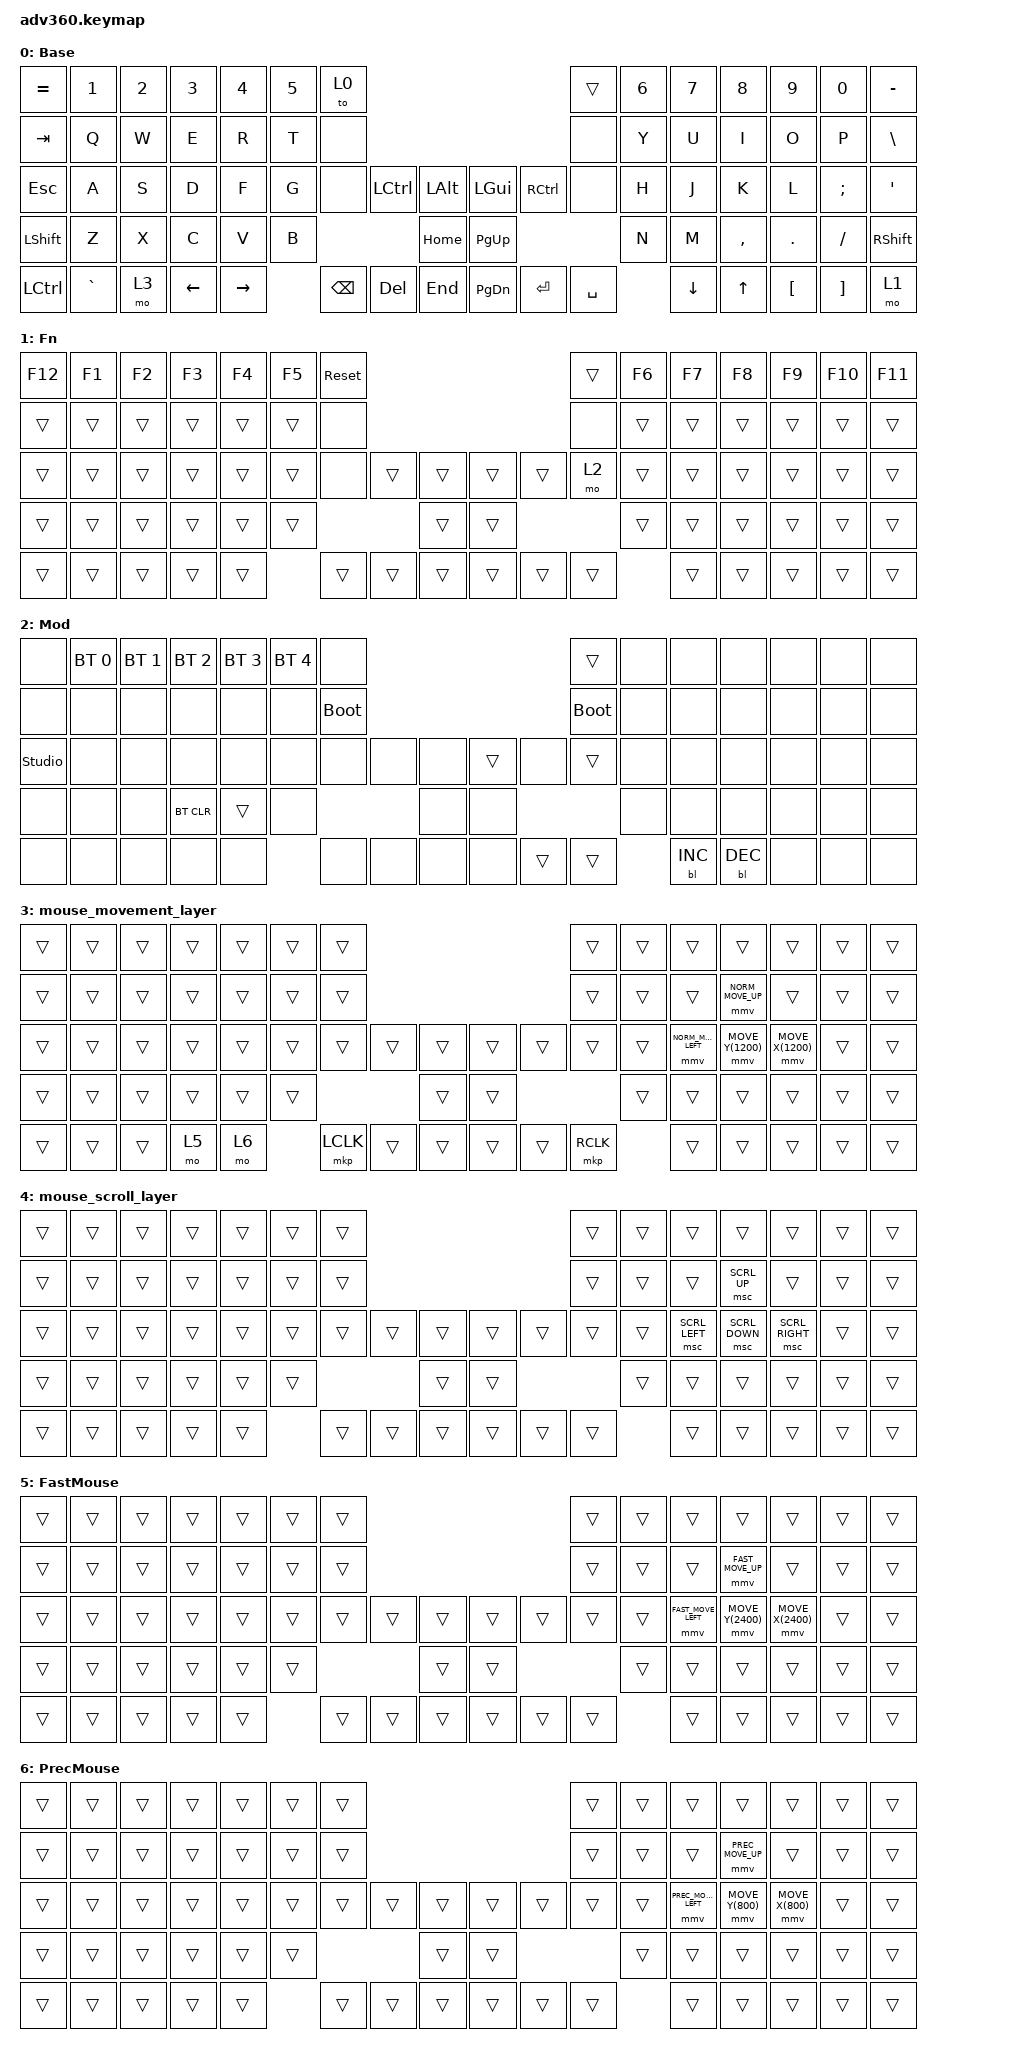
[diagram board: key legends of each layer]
#include <dt-bindings/zmk/stp.h>
#include <behaviors.dtsi>
#include <dt-bindings/zmk/backlight.h>
#include <dt-bindings/zmk/bt.h>
#include <dt-bindings/zmk/keys.h>
#include <dt-bindings/zmk/pointing.h>

#define NORM_MOVE_UP    MOVE_Y(-1200)
#define NORM_MOVE_DOWN  MOVE_Y(1200)
#define NORM_MOVE_LEFT  MOVE_X(-1200)
#define NORM_MOVE_RIGHT MOVE_X(1200)
#define FAST_MOVE_UP    MOVE_Y(-2400)
#define FAST_MOVE_DOWN  MOVE_Y(2400)
#define FAST_MOVE_LEFT  MOVE_X(-2400)
#define FAST_MOVE_RIGHT MOVE_X(2400)
#define PREC_MOVE_UP    MOVE_Y(-800)
#define PREC_MOVE_DOWN  MOVE_Y(800)
#define PREC_MOVE_LEFT  MOVE_X(-800)
#define PREC_MOVE_RIGHT MOVE_X(800)

/ {
    behaviors {
        #include "macros.dtsi"
      #include "version.dtsi"

        hm: homerow_mods {
            compatible = "zmk,behavior-hold-tap";
            label = "HOMEROW_MODS";
            #binding-cells = <2>;
            tapping-term-ms = <200>;
            quick_tap_ms = <175>;
            flavor = "tap-preferred";
            bindings = <&kp>, <&kp>;
        };

    };

    combos {
        compatible = "zmk,combos";

        to_base_layer {
            bindings = <&to 0>;
            key-positions = <0 73>;
        };
    };

    keymap {
        compatible = "zmk,keymap";

        default_layer {
            display-name = "Base";
            bindings = <
&kp EQUAL         &kp N1     &kp N2  &kp N3    &kp N4     &kp N5  &to 0                                                    &trans     &kp N6  &kp N7    &kp N8        &kp N9    &kp N0    &kp MINUS
&kp TAB           &kp Q      &kp W   &kp E     &kp R      &kp T   &none                                                    &none      &kp Y   &kp U     &kp I         &kp O     &kp P     &kp BSLH
&kp ESC           &kp A      &kp S   &kp D     &kp F      &kp G   &none     &kp LCTRL  &kp LALT      &kp LGUI   &kp RCTRL  &none      &kp H   &kp J     &kp K         &kp L     &kp SEMI  &kp SQT
&kp LSHFT         &kp Z      &kp X   &kp C     &kp V      &kp B                        &kp HOME      &kp PG_UP                        &kp N   &kp M     &kp COMMA     &kp DOT   &kp FSLH  &kp RSHFT
&kp LEFT_CONTROL  &kp GRAVE  &mo 3   &kp LEFT  &kp RIGHT          &kp BSPC  &kp DEL    &kp END       &kp PG_DN  &kp ENTER  &kp SPACE          &kp DOWN  &kp UP_ARROW  &kp LBKT  &kp RBKT  &mo 1
            >;
        };

        fn {
            display-name = "Fn";
            bindings = <
&kp F12  &kp F1  &kp F2  &kp F3  &kp F4  &kp F5  &sys_reset                                      &trans  &kp F6  &kp F7  &kp F8  &kp F9  &kp F10  &kp F11
&trans   &trans  &trans  &trans  &trans  &trans  &none                                           &none   &trans  &trans  &trans  &trans  &trans   &trans
&trans   &trans  &trans  &trans  &trans  &trans  &none       &trans  &trans      &trans  &trans  &mo 2   &trans  &trans  &trans  &trans  &trans   &trans
&trans   &trans  &trans  &trans  &trans  &trans                      &trans      &trans                  &trans  &trans  &trans  &trans  &trans   &trans
&trans   &trans  &trans  &trans  &trans          &trans      &trans  &trans      &trans  &trans  &trans          &trans  &trans  &trans  &trans   &trans
            >;
        };

        bluetooth {
            display-name = "Mod";
            bindings = <
&none           &bt BT_SEL 0  &bt BT_SEL 1  &bt BT_SEL 2  &bt BT_SEL 3  &bt BT_SEL 4  &none                                          &trans       &none  &none       &none       &none  &none  &none
&none           &none         &none         &none         &none         &none         &bootloader                                    &bootloader  &none  &none       &none       &none  &none  &none
&studio_unlock  &none         &none         &none         &none         &none         &none        &none  &none      &trans  &none   &trans       &none  &none       &none       &none  &none  &none
&none           &none         &none         &bt BT_CLR    &trans        &none                             &none      &none                        &none  &none       &none       &none  &none  &none
&none           &none         &none         &none         &none                       &none        &none  &none      &none   &trans  &trans              &bl BL_INC  &bl BL_DEC  &none  &none  &none
            >;
        };

        mouse_movement_layer {
            bindings = <
&trans  &trans  &trans  &trans  &trans  &trans  &trans                                         &trans     &trans  &trans          &trans          &trans           &trans  &trans
&trans  &trans  &trans  &trans  &trans  &trans  &trans                                         &trans     &trans  &trans               &mmv NORM_MOVE_UP    &trans                &trans  &trans
&trans  &trans  &trans  &trans  &trans  &trans  &trans     &trans  &trans      &trans  &trans  &trans     &trans  &mmv NORM_MOVE_LEFT  &mmv NORM_MOVE_DOWN  &mmv NORM_MOVE_RIGHT  &trans  &trans
&trans  &trans  &trans  &trans  &trans  &trans                     &trans      &trans                     &trans  &trans          &trans          &trans           &trans  &trans
&trans  &trans  &trans  &mo 5   &mo 6           &mkp LCLK  &trans  &trans      &trans  &trans  &mkp RCLK          &trans          &trans          &trans           &trans  &trans
            >;
        };

        mouse_scroll_layer {
            bindings = <
&trans  &trans  &trans  &trans  &trans  &trans  &trans                                      &trans  &trans  &trans          &trans          &trans           &trans  &trans
&trans  &trans  &trans  &trans  &trans  &trans  &trans                                      &trans  &trans  &trans          &msc SCRL_UP    &trans           &trans  &trans
&trans  &trans  &trans  &trans  &trans  &trans  &trans  &trans  &trans      &trans  &trans  &trans  &trans  &msc SCRL_LEFT  &msc SCRL_DOWN  &msc SCRL_RIGHT  &trans  &trans
&trans  &trans  &trans  &trans  &trans  &trans                  &trans      &trans                  &trans  &trans          &trans          &trans           &trans  &trans
&trans  &trans  &trans  &trans  &trans          &trans  &trans  &trans      &trans  &trans  &trans          &trans          &trans          &trans           &trans  &trans
            >;
        };

        mouse_fast_mod_layer {
            display-name = "FastMouse";
            bindings = <
&trans  &trans  &trans  &trans  &trans  &trans  &trans                                         &trans     &trans  &trans               &trans                  &trans                   &trans  &trans
&trans  &trans  &trans  &trans  &trans  &trans  &trans                                         &trans     &trans  &trans               &mmv FAST_MOVE_UP   &trans                   &trans  &trans
&trans  &trans  &trans  &trans  &trans  &trans  &trans     &trans  &trans      &trans  &trans  &trans     &trans  &mmv FAST_MOVE_LEFT  &mmv FAST_MOVE_DOWN  &mmv FAST_MOVE_RIGHT  &trans  &trans
&trans  &trans  &trans  &trans  &trans  &trans                     &trans      &trans                     &trans  &trans               &trans                  &trans                   &trans  &trans
&trans  &trans  &trans  &trans  &trans          &trans     &trans  &trans      &trans  &trans  &trans             &trans               &trans                  &trans                   &trans  &trans
            >;
        };

        mouse_prec_mod_layer {
            display-name = "PrecMouse";
            bindings = <
&trans  &trans  &trans  &trans  &trans  &trans  &trans                                         &trans     &trans  &trans               &trans                  &trans                   &trans  &trans
&trans  &trans  &trans  &trans  &trans  &trans  &trans                                         &trans     &trans  &trans               &mmv PREC_MOVE_UP   &trans                   &trans  &trans
&trans  &trans  &trans  &trans  &trans  &trans  &trans     &trans  &trans      &trans  &trans  &trans     &trans  &mmv PREC_MOVE_LEFT  &mmv PREC_MOVE_DOWN  &mmv PREC_MOVE_RIGHT  &trans  &trans
&trans  &trans  &trans  &trans  &trans  &trans                     &trans      &trans                     &trans  &trans               &trans                  &trans                   &trans  &trans
&trans  &trans  &trans  &trans  &trans          &trans     &trans  &trans      &trans  &trans  &trans             &trans               &trans                  &trans                   &trans  &trans
            >;
        };
    };
};
